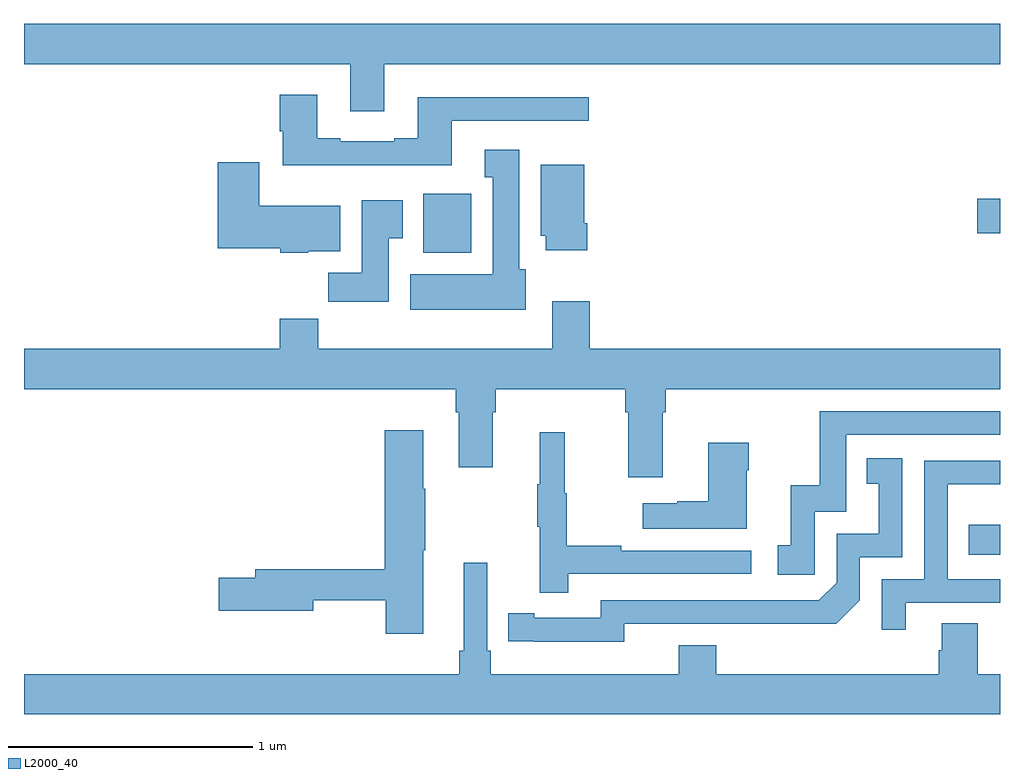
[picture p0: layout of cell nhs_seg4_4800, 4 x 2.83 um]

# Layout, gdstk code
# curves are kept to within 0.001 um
import gdstk
lib = gdstk.Library(unit=1e-6, precision=1e-09)
def R(c, l, rs):  # rectangles x0, y0, x1, y1
    for r in rs: c.add(gdstk.rectangle(r[:2], r[2:], *l))
def P(c, l, *ps):  # polygons
    for p in ps: c.add(gdstk.Polygon(p, *l))
L2000_40 = (2000, 40)

nhs_seg4_4800 = lib.new_cell('nhs_seg4_4800')
R(nhs_seg4_4800, L2000_40, [(372.871,816.12,373,816.243), (370.637,817.358,370.834,817.6), (372.906,817.438,373,817.58)])
P(nhs_seg4_4800, L2000_40, [(370.477,818.132),(373,818.132),(373,818.296),(369,818.296),(369,818.132),(370.337,818.132),(370.337,817.938),(370.477,817.938)],
  [(370.753,817.899),(371.314,817.899),(371.314,817.996),(370.613,817.996),(370.613,817.828),(370.517,817.828),(370.517,817.815),(370.297,817.815),(370.297,817.828),(370.201,817.828),(370.201,818.005),(370.049,818.005),(370.049,817.857),(370.061,817.857),(370.061,817.718),(370.753,817.718)],
  [(371.056,817.29),(371.029,817.29),(371.029,817.78),(370.889,817.78),(370.889,817.667),(370.922,817.667),(370.922,817.27),(370.583,817.27),(370.583,817.124),(371.056,817.124)],
  [(370.164,817.364),(370.297,817.364),(370.297,817.552),(369.964,817.552),(369.964,817.729),(369.794,817.729),(369.794,817.376),(370.05,817.376),(370.05,817.358),(370.164,817.358)],
  [(371.309,817.48),(371.296,817.48),(371.296,817.72),(371.117,817.72),(371.117,817.428),(371.138,817.428),(371.138,817.368),(371.309,817.368)],
  [(370.495,817.417),(370.552,817.417),(370.552,817.573),(370.385,817.573),(370.385,817.276),(370.246,817.276),(370.246,817.158),(370.495,817.158)],
  [(371.617,816.704),(371.63,816.704),(371.63,816.8),(373,816.8),(373,816.964),(371.318,816.964),(371.318,817.159),(371.165,817.159),(371.165,816.964),(370.205,816.964),(370.205,817.088),(370.049,817.088),(370.049,816.964),(369,816.964),(369,816.8),(370.769,816.8),(370.769,816.704),(370.781,816.704),(370.781,816.48),(370.921,816.48),(370.921,816.704),(370.934,816.704),(370.934,816.8),(371.465,816.8),(371.465,816.704),(371.477,816.704),(371.477,816.438),(371.617,816.438)],
  [(372.24,816.297),(372.369,816.297),(372.369,816.612),(373,816.612),(373,816.708),(372.261,816.708),(372.261,816.406),(372.143,816.406),(372.143,816.159),(372.09,816.159),(372.09,816.039),(372.24,816.039)],
  [(370.636,816.139),(370.644,816.139),(370.644,816.392),(370.636,816.392),(370.636,816.631),(370.478,816.631),(370.478,816.062),(369.947,816.062),(369.947,816.026),(369.798,816.026),(369.798,815.891),(370.186,815.891),(370.186,815.934),(370.483,815.934),(370.483,815.796),(370.636,815.796)],
  [(371.231,816.042),(371.98,816.042),(371.98,816.138),(371.447,816.138),(371.447,816.158),(371.224,816.158),(371.224,816.372),(371.216,816.372),(371.216,816.622),(371.114,816.622),(371.114,816.409),(371.103,816.409),(371.103,816.235),(371.114,816.235),(371.114,815.964),(371.231,815.964)],
  [(371.962,816.467),(371.97,816.467),(371.97,816.58),(371.804,816.58),(371.804,816.341),(371.678,816.341),(371.678,816.331),(371.535,816.331),(371.535,816.227),(371.962,816.227)],
  [(371.46,815.838),(372.328,815.837),(372.426,815.934),(372.426,816.111),(372.6,816.111),(372.6,816.517),(372.454,816.517),(372.454,816.411),(372.503,816.411),(372.503,816.207),(372.33,816.207),(372.33,816.006),(372.258,815.934),(371.364,815.934),(371.364,815.862),(371.092,815.862),(371.092,815.882),(370.984,815.882),(370.984,815.766),(371.46,815.765)],
  [(372.613,815.925),(373,815.925),(373,816.021),(372.786,816.021),(372.786,816.41),(373,816.41),(373,816.507),(372.69,816.507),(372.69,816.021),(372.516,816.021),(372.516,815.814),(372.613,815.814)],
  [(373,815.632),(372.909,815.632),(372.909,815.84),(372.761,815.84),(372.761,815.73),(372.749,815.73),(372.749,815.632),(371.837,815.632),(371.837,815.749),(371.684,815.749),(371.684,815.632),(370.913,815.632),(370.913,815.728),(370.899,815.728),(370.899,816.088),(370.802,816.088),(370.802,815.728),(370.783,815.728),(370.783,815.632),(369,815.632),(369,815.468),(373,815.468)])

lib.write_gds('nhs_seg4_4800.gds')
